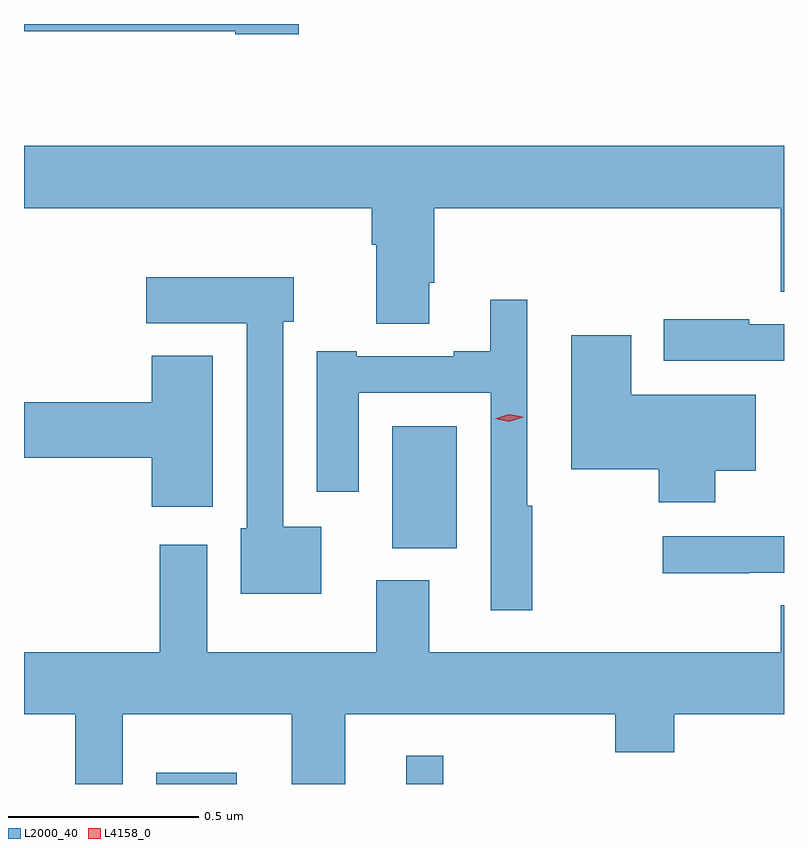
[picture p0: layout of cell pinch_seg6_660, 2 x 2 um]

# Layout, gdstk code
import gdstk
lib = gdstk.Library(unit=1e-6, precision=1e-09)
def R(c, l, rs):  # rectangles x0, y0, x1, y1
    for r in rs: c.add(gdstk.rectangle(r[:2], r[2:], *l))
def P(c, l, *ps):  # polygons
    for p in ps: c.add(gdstk.Polygon(p, *l))
L2000_40 = (2000, 40)
L4158_0 = (4158, 0)

pinch_seg6_660 = lib.new_cell('pinch_seg6_660')
R(pinch_seg6_660, L2000_40, [(455.738,944.489,455.95,944.518), (456.396,944.489,456.493,944.563), (456.359,945.11,456.529,945.43)])
P(pinch_seg6_660, L2000_40, [(456.113,946.489),(455.39,946.489),(455.39,946.47),(455.946,946.47),(455.946,946.462),(456.113,946.462)],
  [(456.457,945.808),(456.47,945.808),(456.47,946.004),(457.382,946.004),(457.382,945.784),(457.39,945.784),(457.39,946.168),(455.39,946.168),(455.39,946.004),(456.305,946.004),(456.305,945.908),(456.317,945.908),(456.317,945.7),(456.457,945.7)],
  [(456.172,945.166),(456.072,945.166),(456.072,945.705),(456.1,945.705),(456.1,945.823),(455.712,945.823),(455.712,945.701),(455.976,945.701),(455.976,945.162),(455.96,945.162),(455.96,944.99),(456.172,944.99)],
  [(456.727,945.221),(456.714,945.221),(456.714,945.763),(456.617,945.763),(456.617,945.628),(456.521,945.628),(456.521,945.615),(456.265,945.615),(456.265,945.628),(456.161,945.628),(456.161,945.258),(456.271,945.258),(456.271,945.519),(456.618,945.519),(456.618,944.946),(456.727,944.946)],
  [(457.39,945.699),(457.298,945.699),(457.298,945.712),(457.073,945.712),(457.073,945.603),(457.39,945.603)],
  [(457.209,945.314),(457.315,945.314),(457.315,945.514),(456.988,945.514),(456.988,945.67),(456.83,945.67),(456.83,945.317),(457.06,945.317),(457.06,945.23),(457.209,945.23)],
  [(455.887,945.616),(455.726,945.616),(455.726,945.494),(455.39,945.494),(455.39,945.347),(455.726,945.347),(455.726,945.219),(455.887,945.219)],
  [(457.298,945.045),(457.39,945.045),(457.39,945.141),(457.071,945.141),(457.071,945.044),(457.298,945.044)],
  [(455.65,944.672),(456.095,944.672),(456.095,944.489),(456.235,944.489),(456.235,944.672),(456.946,944.672),(456.946,944.573),(457.101,944.573),(457.101,944.672),(457.39,944.672),(457.39,944.96),(457.382,944.96),(457.382,944.836),(456.457,944.836),(456.457,945.025),(456.317,945.025),(456.317,944.836),(455.872,944.836),(455.872,945.118),(455.747,945.118),(455.747,944.836),(455.39,944.836),(455.39,944.672),(455.525,944.672),(455.525,944.489),(455.65,944.489)])
P(pinch_seg6_660, L4158_0, [(456.667,945.442),(456.63,945.45),(456.63,945.45),(456.63,945.45),(456.665,945.462),(456.702,945.455),(456.702,945.455),(456.702,945.454)])

lib.write_gds('pinch_seg6_660.gds')
